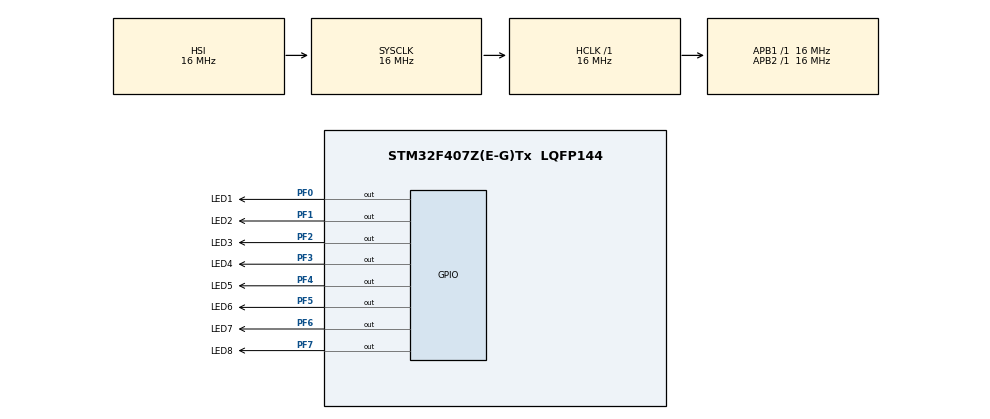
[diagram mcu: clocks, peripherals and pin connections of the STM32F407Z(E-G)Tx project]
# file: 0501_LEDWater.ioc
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Mcu.Family=STM32F4
Mcu.Name=STM32F407Z(E-G)Tx
Mcu.Package=LQFP144
NVIC.PriorityGroup=NVIC_PRIORITYGROUP_4
PF0.GPIO_Label=LED1
PF0.PinState=GPIO_PIN_SET
PF0.Signal=GPIO_Output
PF1.GPIO_Label=LED2
PF1.PinState=GPIO_PIN_SET
PF1.Signal=GPIO_Output
PF2.GPIO_Label=LED3
PF2.PinState=GPIO_PIN_SET
PF2.Signal=GPIO_Output
PF3.GPIO_Label=LED4
PF3.PinState=GPIO_PIN_SET
PF3.Signal=GPIO_Output
PF4.GPIO_Label=LED5
PF4.PinState=GPIO_PIN_SET
PF4.Signal=GPIO_Output
PF5.GPIO_Label=LED6
PF5.PinState=GPIO_PIN_SET
PF5.Signal=GPIO_Output
PF6.GPIO_Label=LED7
PF6.PinState=GPIO_PIN_SET
PF6.Signal=GPIO_Output
PF7.GPIO_Label=LED8
PF7.PinState=GPIO_PIN_SET
PF7.Signal=GPIO_Output
ProjectManager.HeapSize=0x200
ProjectManager.StackSize=0x400
ProjectManager.TargetToolchain=MDK-ARM V5
RCC.AHBFreq_Value=16000000
RCC.APB1Freq_Value=16000000
RCC.APB2Freq_Value=16000000
RCC.CortexFreq_Value=16000000
RCC.HSE_VALUE=25000000
RCC.HSI_VALUE=16000000
RCC.LSE_VALUE=32768
RCC.SYSCLKFreq_VALUE=16000000
RCC.VCOOutputFreq_Value=192000000
board=custom

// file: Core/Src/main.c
/* USER CODE BEGIN Header */
/**
  ******************************************************************************
  * @file           : main.c
  * @brief          : Main program body
  ******************************************************************************
  * @attention
  *
  * Copyright (c) 2026 STMicroelectronics.
  * All rights reserved.
  *
  * This software is licensed under terms that can be found in the LICENSE file
  * in the root directory of this software component.
  * If no LICENSE file comes with this software, it is provided AS-IS.
  *
  ******************************************************************************
  */
/* USER CODE END Header */
#include "main.h"
#include "gpio.h"

void SystemClock_Config(void);

/* USER CODE BEGIN 0 */

// ==========================================================
// ????1?:????? delay ???????
// ==========================================================
void delay(uint32_t i)
{
    while(i--);
}

/* USER CODE END 0 */

int main(void)
{

  /* MCU Configuration--------------------------------------------------------*/

  /* Reset of all peripherals, Initializes the Flash interface and the Systick. */
  HAL_Init();

  /* Configure the system clock */
  SystemClock_Config();

  /* Initialize all configured peripherals */
  MX_GPIO_Init();

  /* Infinite loop */
  while (1)
  {

    /* USER CODE BEGIN 3 */

    GPIOF->ODR = 0xFE;
    delay(5200000);

    GPIOF->ODR = 0xFD;
    delay(5200000);

    GPIOF->ODR = 0xFB;
    delay(5200000);

    GPIOF->ODR = 0xF7;
    delay(5200000);

    GPIOF->ODR = 0xEF;
    delay(5200000);

    GPIOF->ODR = 0xDF;
    delay(5200000);

    GPIOF->ODR = 0xBF;
    delay(5200000);

    GPIOF->ODR = 0x7F;
    delay(5200000);

  }
  /* USER CODE END 3 */
}

void SystemClock_Config(void)
{
  RCC_OscInitTypeDef RCC_OscInitStruct = {0};
  RCC_ClkInitTypeDef RCC_ClkInitStruct = {0};

  /** Configure the main internal regulator output voltage
  */
  __HAL_RCC_PWR_CLK_ENABLE();
  __HAL_PWR_VOLTAGESCALING_CONFIG(PWR_REGULATOR_VOLTAGE_SCALE1);

  /** Initializes the RCC Oscillators according to the specified parameters
  * in the RCC_OscInitTypeDef structure.
  */
  RCC_OscInitStruct.OscillatorType = RCC_OSCILLATORTYPE_HSI;
  RCC_OscInitStruct.HSIState = RCC_HSI_ON;
  RCC_OscInitStruct.HSICalibrationValue = RCC_HSICALIBRATION_DEFAULT;
  RCC_OscInitStruct.PLL.PLLState = RCC_PLL_NONE;
  if (HAL_RCC_OscConfig(&RCC_OscInitStruct) != HAL_OK)
  {
    Error_Handler();
  }

  /** Initializes the CPU, AHB and APB buses clocks
  */
  RCC_ClkInitStruct.ClockType = RCC_CLOCKTYPE_HCLK|RCC_CLOCKTYPE_SYSCLK
                              |RCC_CLOCKTYPE_PCLK1|RCC_CLOCKTYPE_PCLK2;
  RCC_ClkInitStruct.SYSCLKSource = RCC_SYSCLKSOURCE_HSI;
  RCC_ClkInitStruct.AHBCLKDivider = RCC_SYSCLK_DIV1;
  RCC_ClkInitStruct.APB1CLKDivider = RCC_HCLK_DIV1;
  RCC_ClkInitStruct.APB2CLKDivider = RCC_HCLK_DIV1;

  if (HAL_RCC_ClockConfig(&RCC_ClkInitStruct, FLASH_LATENCY_0) != HAL_OK)
  {
    Error_Handler();
  }
}

void Error_Handler(void)
{
  __disable_irq();
  while (1)
  {
  }
}
